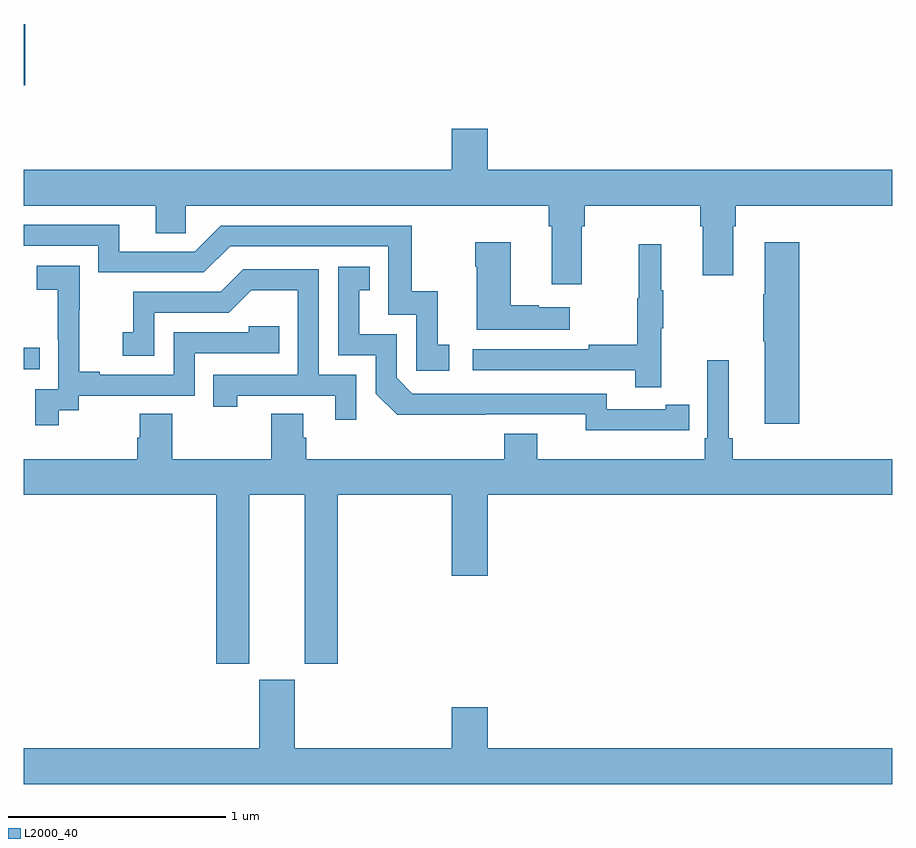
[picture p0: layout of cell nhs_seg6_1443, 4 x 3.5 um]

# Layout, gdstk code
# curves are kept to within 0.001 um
import gdstk
lib = gdstk.Library(unit=1e-6, precision=1e-09)
def R(c, l, rs):  # rectangles x0, y0, x1, y1
    for r in rs: c.add(gdstk.rectangle(r[:2], r[2:], *l))
def P(c, l, *ps):  # polygons
    for p in ps: c.add(gdstk.Polygon(p, *l))
L2000_40 = (2000, 40)

nhs_seg6_1443 = lib.new_cell('nhs_seg6_1443')
R(nhs_seg6_1443, L2000_40, [(199,951.909,199.073,952.01), (199,953.217,199.007,953.5)])
P(nhs_seg6_1443, L2000_40, [(201.571,952.568),(201.584,952.568),(201.584,952.664),(202.115,952.664),(202.115,952.568),(202.127,952.568),(202.127,952.344),(202.267,952.344),(202.267,952.568),(202.28,952.568),(202.28,952.664),(203,952.664),(203,952.828),(201.136,952.828),(201.136,953.017),(200.972,953.017),(200.972,952.828),(199,952.828),(199,952.664),(199.607,952.664),(199.607,952.537),(199.746,952.537),(199.746,952.664),(201.419,952.664),(201.419,952.568),(201.431,952.568),(201.431,952.302),(201.571,952.302)],
  [(200.959,952.023),(200.906,952.023),(200.906,952.27),(200.788,952.27),(200.788,952.572),(199.908,952.572),(199.788,952.452),(199.441,952.452),(199.441,952.575),(199,952.575),(199,952.479),(199.344,952.479),(199.344,952.356),(199.83,952.356),(199.95,952.476),(200.679,952.476),(200.679,952.161),(200.808,952.161),(200.808,951.903),(200.959,951.903)],
  [(202.571,952.495),(202.412,952.495),(202.412,952.256),(202.405,952.256),(202.405,952.039),(202.412,952.039),(202.412,951.66),(202.571,951.66)],
  [(201.514,952.195),(201.371,952.195),(201.371,952.205),(201.244,952.205),(201.244,952.495),(201.079,952.495),(201.079,952.382),(201.086,952.382),(201.086,952.091),(201.514,952.091)],
  [(201.935,952.099),(201.946,952.099),(201.946,952.273),(201.935,952.273),(201.935,952.486),(201.832,952.486),(201.832,952.236),(201.825,952.236),(201.825,952.022),(201.601,952.022),(201.601,952.002),(201.069,952.002),(201.069,951.906),(201.817,951.906),(201.817,951.828),(201.935,951.828)],
  [(199.162,951.721),(199.254,951.721),(199.254,951.789),(199.788,951.789),(199.788,951.984),(200.177,951.984),(200.177,952.107),(200.037,952.107),(200.037,952.08),(199.692,952.08),(199.692,951.885),(199.351,951.885),(199.351,951.898),(199.256,951.898),(199.256,952.181),(199.257,952.181),(199.257,952.387),(199.059,952.387),(199.059,952.277),(199.157,952.277),(199.157,952.049),(199.158,952.049),(199.158,951.819),(199.053,951.819),(199.053,951.651),(199.162,951.651)],
  [(201.956,951.63),(202.064,951.63),(202.064,951.746),(201.956,951.746),(201.956,951.726),(201.684,951.726),(201.684,951.798),(200.79,951.798),(200.718,951.87),(200.718,952.071),(200.545,952.071),(200.545,952.275),(200.594,952.275),(200.594,952.381),(200.448,952.381),(200.448,951.975),(200.622,951.975),(200.622,951.798),(200.72,951.701),(201.588,951.702),(201.588,951.629)],
  [(200.532,951.885),(200.358,951.885),(200.358,952.371),(200.012,952.371),(199.907,952.266),(199.504,952.266),(199.504,952.081),(199.455,952.081),(199.455,951.972),(199.602,951.972),(199.602,952.17),(199.944,952.17),(200.048,952.274),(200.262,952.274),(200.262,951.885),(199.873,951.885),(199.873,951.738),(199.984,951.738),(199.984,951.789),(200.435,951.789),(200.435,951.678),(200.532,951.678)],
  [(200.038,951.332),(200.294,951.332),(200.294,950.553),(200.447,950.553),(200.447,951.332),(200.972,951.332),(200.972,950.958),(201.136,950.958),(201.136,951.332),(203,951.332),(203,951.496),(202.265,951.496),(202.265,951.592),(202.246,951.592),(202.246,951.952),(202.149,951.952),(202.149,951.592),(202.136,951.592),(202.136,951.496),(201.364,951.496),(201.364,951.613),(201.212,951.613),(201.212,951.496),(200.3,951.496),(200.3,951.594),(200.287,951.594),(200.287,951.704),(200.14,951.704),(200.14,951.496),(199.683,951.496),(199.683,951.704),(199.535,951.704),(199.535,951.594),(199.523,951.594),(199.523,951.496),(199,951.496),(199,951.332),(199.886,951.332),(199.886,950.553),(200.038,950.553)],
  [(203,950.164),(201.136,950.164),(201.136,950.353),(200.972,950.353),(200.972,950.164),(200.248,950.164),(200.248,950.481),(200.084,950.481),(200.084,950.164),(199,950.164),(199,950),(203,950)])

lib.write_gds('nhs_seg6_1443.gds')
